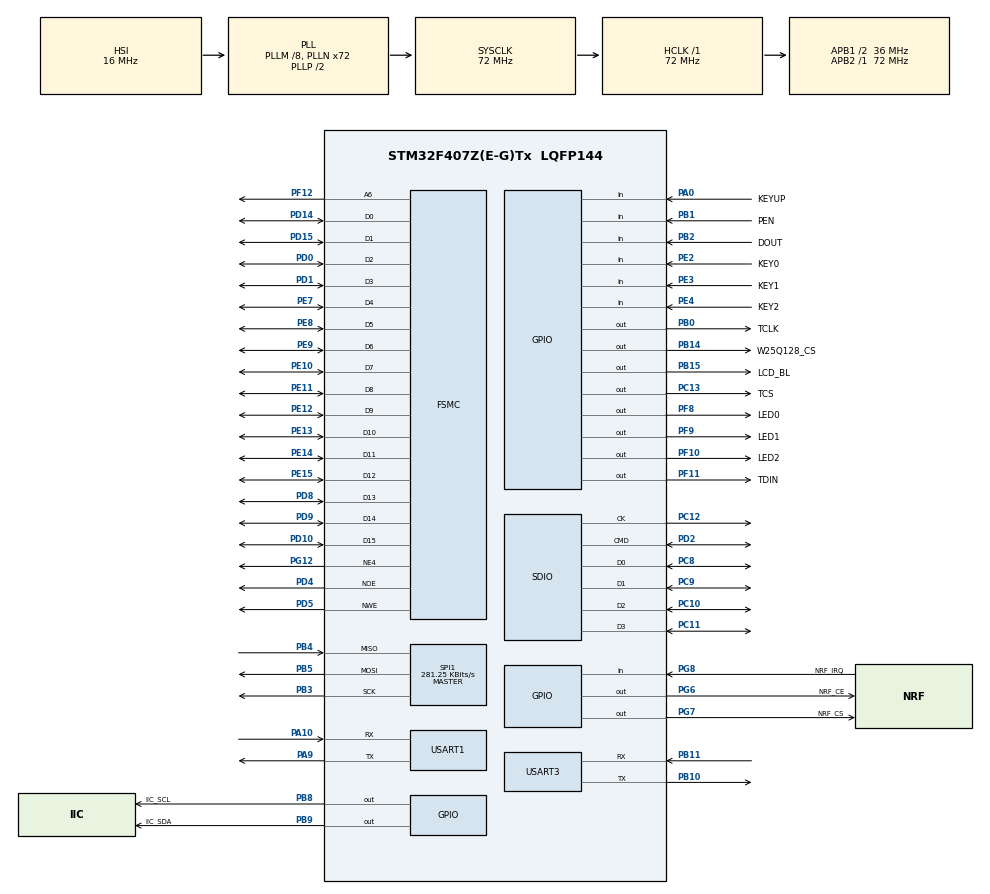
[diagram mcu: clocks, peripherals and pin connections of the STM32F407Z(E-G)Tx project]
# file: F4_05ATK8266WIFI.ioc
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Dma.Request0=SDIO_RX
Dma.Request1=SDIO_TX
Dma.SDIO_RX.0.Direction=DMA_PERIPH_TO_MEMORY
Dma.SDIO_RX.0.FIFOMode=DMA_FIFOMODE_ENABLE
Dma.SDIO_RX.0.FIFOThreshold=DMA_FIFO_THRESHOLD_FULL
Dma.SDIO_RX.0.Instance=DMA2_Stream3
Dma.SDIO_RX.0.MemBurst=DMA_MBURST_INC4
Dma.SDIO_RX.0.MemDataAlignment=DMA_MDATAALIGN_WORD
Dma.SDIO_RX.0.MemInc=DMA_MINC_ENABLE
Dma.SDIO_RX.0.Mode=DMA_PFCTRL
Dma.SDIO_RX.0.PeriphBurst=DMA_PBURST_INC4
Dma.SDIO_RX.0.PeriphDataAlignment=DMA_PDATAALIGN_WORD
Dma.SDIO_RX.0.PeriphInc=DMA_PINC_DISABLE
Dma.SDIO_RX.0.Priority=DMA_PRIORITY_LOW
Dma.SDIO_TX.1.Direction=DMA_MEMORY_TO_PERIPH
Dma.SDIO_TX.1.FIFOMode=DMA_FIFOMODE_ENABLE
Dma.SDIO_TX.1.FIFOThreshold=DMA_FIFO_THRESHOLD_FULL
Dma.SDIO_TX.1.Instance=DMA2_Stream6
Dma.SDIO_TX.1.MemBurst=DMA_MBURST_INC4
Dma.SDIO_TX.1.MemDataAlignment=DMA_MDATAALIGN_WORD
Dma.SDIO_TX.1.MemInc=DMA_MINC_ENABLE
Dma.SDIO_TX.1.Mode=DMA_PFCTRL
Dma.SDIO_TX.1.PeriphBurst=DMA_PBURST_INC4
Dma.SDIO_TX.1.PeriphDataAlignment=DMA_PDATAALIGN_WORD
Dma.SDIO_TX.1.PeriphInc=DMA_PINC_DISABLE
Dma.SDIO_TX.1.Priority=DMA_PRIORITY_LOW
FATFS.BSP.number=1
FATFS.USE_DMA_CODE_SD=1
FATFS._CODE_PAGE=936
FATFS._USE_LFN=2
FATFS0.BSP.STBoard=false
FATFS0.BSP.api=Unknown
FATFS0.BSP.i2caddr=0
FATFS0.BSP.instance=PE2
FATFS0.BSP.ip=GPIO
FATFS0.BSP.mode=Input
FATFS0.BSP.name=Detect_SDIO
FATFS0.BSP.solution=PE2
FSMC.AddressSetupTime1=0x0f
FSMC.BusTurnAroundDuration1=0
FSMC.DataSetupTime1=60
FSMC.ExtendedAddressSetupTime1=9
FSMC.ExtendedBusTurnAroundDuration1=0
FSMC.ExtendedDataSetupTime1=8
FSMC.ExtendedMode1=FSMC_EXTENDED_MODE_ENABLE
Mcu.Family=STM32F4
Mcu.Name=STM32F407Z(E-G)Tx
Mcu.Package=LQFP144
NVIC.DMA2_Stream3_IRQn=true\:2\:0\:true\:false\:true\:false\:true
NVIC.DMA2_Stream6_IRQn=true\:2\:0\:true\:false\:true\:false\:true
NVIC.PriorityGroup=NVIC_PRIORITYGROUP_2
NVIC.SDIO_IRQn=true\:0\:0\:false\:false\:true\:true\:true
NVIC.TIM7_IRQn=true\:0\:1\:false\:false\:true\:true\:true
NVIC.USART3_IRQn=true\:2\:3\:true\:false\:true\:true\:true
PA0-WKUP.GPIO_Label=KEYUP
PA0-WKUP.GPIO_PuPd=GPIO_PULLDOWN
PA0-WKUP.Signal=GPIO_Input
PA10.Mode=Asynchronous
PA10.Signal=USART1_RX
PA13.Mode=Serial_Wire
PA13.Signal=SYS_JTMS-SWDIO
PA14.Mode=Serial_Wire
PA14.Signal=SYS_JTCK-SWCLK
PA9.Mode=Asynchronous
PA9.Signal=USART1_TX
PB0.GPIO_Label=TCLK
PB0.GPIO_PuPd=GPIO_PULLUP
PB0.GPIO_Speed=GPIO_SPEED_FREQ_VERY_HIGH
PB0.Signal=GPIO_Output
PB1.GPIO_Label=PEN
PB1.GPIO_Mode=GPIO_MODE_INPUT
PB1.GPIO_PuPd=GPIO_PULLUP
PB1.Signal=GPIO_Input
PB10.Mode=Asynchronous
PB10.Signal=USART3_TX
PB11.Mode=Asynchronous
PB11.Signal=USART3_RX
PB14.GPIO_Label=W25Q128_CS
PB14.GPIO_PuPd=GPIO_PULLUP
PB14.GPIO_Speed=GPIO_SPEED_FREQ_VERY_HIGH
PB14.PinState=GPIO_PIN_SET
PB14.Signal=GPIO_Output
PB15.GPIO_Label=LCD_BL
PB15.GPIO_PuPd=GPIO_PULLUP
PB15.GPIO_Speed=GPIO_SPEED_FREQ_MEDIUM
PB15.Signal=GPIO_Output
PB2.GPIO_Label=DOUT
PB2.GPIO_PuPd=GPIO_PULLUP
PB2.Signal=GPIO_Input
PB3.GPIO_Mode=GPIO_MODE_AF_PP
PB3.GPIO_PuPd=GPIO_PULLUP
PB3.GPIO_Speed=GPIO_SPEED_FREQ_VERY_HIGH
PB3.Mode=Full_Duplex_Master
PB3.Signal=SPI1_SCK
PB4.GPIO_Mode=GPIO_MODE_AF_PP
PB4.GPIO_PuPd=GPIO_PULLUP
PB4.GPIO_Speed=GPIO_SPEED_FREQ_VERY_HIGH
PB4.Mode=Full_Duplex_Master
PB4.Signal=SPI1_MISO
PB5.GPIO_Mode=GPIO_MODE_AF_PP
PB5.GPIO_PuPd=GPIO_PULLUP
PB5.GPIO_Speed=GPIO_SPEED_FREQ_VERY_HIGH
PB5.Mode=Full_Duplex_Master
PB5.Signal=SPI1_MOSI
PB8.GPIO_Label=IIC_SCL
PB8.GPIO_PuPd=GPIO_PULLUP
PB8.GPIO_Speed=GPIO_SPEED_FREQ_VERY_HIGH
PB8.Signal=GPIO_Output
PB9.GPIO_Label=IIC_SDA
PB9.GPIO_PuPd=GPIO_PULLUP
PB9.GPIO_Speed=GPIO_SPEED_FREQ_VERY_HIGH
PB9.Signal=GPIO_Output
PC10.Mode=SD_4_bits_Wide_bus
PC10.Signal=SDIO_D2
PC11.Mode=SD_4_bits_Wide_bus
PC11.Signal=SDIO_D3
PC12.Mode=SD_4_bits_Wide_bus
PC12.Signal=SDIO_CK
PC13-ANTI_TAMP.GPIO_Label=TCS
PC13-ANTI_TAMP.Signal=GPIO_Output
PC8.Mode=SD_4_bits_Wide_bus
PC8.Signal=SDIO_D0
PC9.Mode=SD_4_bits_Wide_bus
PC9.Signal=SDIO_D1
PD0.GPIO_PuPd=GPIO_PULLUP
PD0.Signal=FSMC_D2_DA2
PD1.GPIO_PuPd=GPIO_PULLUP
PD1.Signal=FSMC_D3_DA3
PD10.GPIO_PuPd=GPIO_PULLUP
PD10.Signal=FSMC_D15_DA15
PD14.GPIO_PuPd=GPIO_PULLUP
PD14.Signal=FSMC_D0_DA0
PD15.GPIO_PuPd=GPIO_PULLUP
PD15.Signal=FSMC_D1_DA1
PD2.Mode=SD_4_bits_Wide_bus
PD2.Signal=SDIO_CMD
PD4.GPIO_PuPd=GPIO_PULLUP
PD4.Signal=FSMC_NOE
PD5.GPIO_PuPd=GPIO_PULLUP
PD5.Signal=FSMC_NWE
PD8.GPIO_PuPd=GPIO_PULLUP
PD8.Signal=FSMC_D13_DA13
PD9.GPIO_PuPd=GPIO_PULLUP
PD9.Signal=FSMC_D14_DA14
PE10.GPIO_PuPd=GPIO_PULLUP
PE10.Signal=FSMC_D7_DA7
PE11.GPIO_PuPd=GPIO_PULLUP
PE11.Signal=FSMC_D8_DA8
PE12.GPIO_PuPd=GPIO_PULLUP
PE12.Signal=FSMC_D9_DA9
PE13.GPIO_PuPd=GPIO_PULLUP
PE13.Signal=FSMC_D10_DA10
PE14.GPIO_PuPd=GPIO_PULLUP
PE14.Signal=FSMC_D11_DA11
PE15.GPIO_PuPd=GPIO_PULLUP
PE15.Signal=FSMC_D12_DA12
PE2.GPIO_Label=KEY0
PE2.GPIO_PuPd=GPIO_PULLUP
PE2.Signal=GPIO_Input
PE3.GPIO_Label=KEY1
PE3.GPIO_PuPd=GPIO_PULLUP
PE3.Signal=GPIO_Input
PE4.GPIO_Label=KEY2
PE4.GPIO_PuPd=GPIO_PULLUP
PE4.Signal=GPIO_Input
PE7.GPIO_PuPd=GPIO_PULLUP
PE7.Signal=FSMC_D4_DA4
PE8.GPIO_PuPd=GPIO_PULLUP
PE8.Signal=FSMC_D5_DA5
PE9.GPIO_PuPd=GPIO_PULLUP
PE9.Signal=FSMC_D6_DA6
PF10.GPIO_Label=LED2
PF10.GPIO_ModeDefaultOutputPP=GPIO_MODE_OUTPUT_PP
PF10.GPIO_PuPd=GPIO_PULLUP
PF10.GPIO_Speed=GPIO_SPEED_FREQ_VERY_HIGH
PF10.PinState=GPIO_PIN_SET
PF10.Signal=GPIO_Output
PF11.GPIO_Label=TDIN
PF11.GPIO_Speed=GPIO_SPEED_FREQ_VERY_HIGH
PF11.Signal=GPIO_Output
PF12.GPIO_PuPd=GPIO_PULLUP
PF12.Signal=FSMC_A6
PF8.GPIO_Label=LED0
PF8.GPIO_ModeDefaultOutputPP=GPIO_MODE_OUTPUT_PP
PF8.GPIO_PuPd=GPIO_PULLUP
PF8.GPIO_Speed=GPIO_SPEED_FREQ_VERY_HIGH
PF8.PinState=GPIO_PIN_SET
PF8.Signal=GPIO_Output
PF9.GPIO_Label=LED1
PF9.GPIO_ModeDefaultOutputPP=GPIO_MODE_OUTPUT_PP
PF9.GPIO_PuPd=GPIO_PULLUP
PF9.GPIO_Speed=GPIO_SPEED_FREQ_VERY_HIGH
PF9.PinState=GPIO_PIN_SET
PF9.Signal=GPIO_Output
PG12.GPIO_PuPd=GPIO_PULLUP
PG12.Mode=NorPsramChipSelect4_1
PG12.Signal=FSMC_NE4
PG6.GPIO_Label=NRF_CE
PG6.GPIO_ModeDefaultOutputPP=GPIO_MODE_OUTPUT_PP
PG6.GPIO_PuPd=GPIO_PULLUP
PG6.GPIO_Speed=GPIO_SPEED_FREQ_VERY_HIGH
PG6.Signal=GPIO_Output
PG7.GPIO_Label=NRF_CS
PG7.GPIO_ModeDefaultOutputPP=GPIO_MODE_OUTPUT_PP
PG7.GPIO_PuPd=GPIO_PULLUP
PG7.GPIO_Speed=GPIO_SPEED_FREQ_VERY_HIGH
PG7.Signal=GPIO_Output
PG8.GPIO_Label=NRF_IRQ
PG8.GPIO_PuPd=GPIO_PULLUP
PG8.Signal=GPIO_Input
PH0-OSC_IN.Mode=HSE-External-Oscillator
PH0-OSC_IN.Signal=RCC_OSC_IN
PH1-OSC_OUT.Mode=HSE-External-Oscillator
PH1-OSC_OUT.Signal=RCC_OSC_OUT
ProjectManager.HeapSize=0x200
ProjectManager.StackSize=0x1000
ProjectManager.TargetToolchain=MDK-ARM V5.27
RCC.48MHZClocksFreq_Value=48000000
RCC.AHBFreq_Value=72000000
RCC.APB1CLKDivider=RCC_HCLK_DIV2
RCC.APB1Freq_Value=36000000
RCC.APB1TimFreq_Value=72000000
RCC.APB2Freq_Value=72000000
RCC.APB2TimFreq_Value=72000000
RCC.CortexFreq_Value=72000000
RCC.HCLKFreq_Value=72000000
RCC.HSE_VALUE=8000000
RCC.HSI_VALUE=16000000
RCC.LSE_VALUE=32768
RCC.PLLM=8
RCC.PLLN=72
RCC.PLLQ=3
RCC.SYSCLKFreq_VALUE=72000000
RCC.SYSCLKSource=RCC_SYSCLKSOURCE_PLLCLK
RCC.VCOOutputFreq_Value=144000000
SDIO.ClockBypass=SDIO_CLOCK_BYPASS_DISABLE
SDIO.ClockDiv=0
SH.FSMC_A6.0=FSMC_A6,A6_1
SH.FSMC_D0_DA0.0=FSMC_D0,16b-d1
SH.FSMC_D10_DA10.0=FSMC_D10,16b-d1
SH.FSMC_D11_DA11.0=FSMC_D11,16b-d1
SH.FSMC_D12_DA12.0=FSMC_D12,16b-d1
SH.FSMC_D13_DA13.0=FSMC_D13,16b-d1
SH.FSMC_D14_DA14.0=FSMC_D14,16b-d1
SH.FSMC_D15_DA15.0=FSMC_D15,16b-d1
SH.FSMC_D1_DA1.0=FSMC_D1,16b-d1
SH.FSMC_D2_DA2.0=FSMC_D2,16b-d1
SH.FSMC_D3_DA3.0=FSMC_D3,16b-d1
SH.FSMC_D4_DA4.0=FSMC_D4,16b-d1
SH.FSMC_D5_DA5.0=FSMC_D5,16b-d1
SH.FSMC_D6_DA6.0=FSMC_D6,16b-d1
SH.FSMC_D7_DA7.0=FSMC_D7,16b-d1
SH.FSMC_D8_DA8.0=FSMC_D8,16b-d1
SH.FSMC_D9_DA9.0=FSMC_D9,16b-d1
SH.FSMC_NOE.0=FSMC_NOE,Lcd1
SH.FSMC_NWE.0=FSMC_NWE,Lcd1
SPI1.BaudRatePrescaler=SPI_BAUDRATEPRESCALER_256
SPI1.CLKPhase=SPI_PHASE_2EDGE
SPI1.CLKPolarity=SPI_POLARITY_HIGH
SPI1.CRCCalculation=SPI_CRCCALCULATION_DISABLE
SPI1.CalculateBaudRate=281.25 KBits/s
SPI1.DataSize=SPI_DATASIZE_8BIT
SPI1.Direction=SPI_DIRECTION_2LINES
SPI1.Mode=SPI_MODE_MASTER
SPI1.VirtualType=VM_MASTER
TIM7.Period=8400-1
TIM7.Prescaler=1000-1
USART1.VirtualMode=VM_ASYNC
USART3.VirtualMode=VM_ASYNC
VP_FATFS_VS_SDIO.Mode=SDIO
VP_TIM7_VS_ClockSourceINT.Mode=Enable_Timer
board=custom

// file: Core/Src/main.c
/* USER CODE BEGIN Header */
/**
  ******************************************************************************
  * @file           : main.c
  * @brief          : Main program body
  ******************************************************************************
  * @attention
  *
  * <h2><center>&copy; Copyright (c) 2021 STMicroelectronics.
  * All rights reserved.</center></h2>
  *
  * This software component is licensed by ST under BSD 3-Clause license,
  * the "License"; You may not use this file except in compliance with the
  * License. You may obtain a copy of the License at:
  *                        opensource.org/licenses/BSD-3-Clause
  *
  ******************************************************************************
  */
/* USER CODE END Header */
#include "main.h"
#include "dma.h"
#include "fatfs.h"
#include "sdio.h"
#include "spi.h"
#include "tim.h"
#include "usart.h"
#include "gpio.h"
#include "fsmc.h"

/* USER CODE BEGIN Includes */
#include "lcd.h"
#include "touch.h"
#include "24l01.h"
#include "w25qxx.h"
#include "text.h"
/* USER CODE END Includes */

void SystemClock_Config(void);

/* USER CODE BEGIN 0 */
const u8 TEXT_Buffer[]={"Explorer STM32F4 SPI TEST"};
u8 key;
#define SIZE sizeof(TEXT_Buffer)
/* USER CODE END 0 */

int main(void)
{
  /* USER CODE BEGIN 1 */
  u8 key,fontok=0;
  FATFS* fs[2] = {0,0};
  /* USER CODE END 1 */

  /* MCU Configuration--------------------------------------------------------*/

  /* Reset of all peripherals, Initializes the Flash interface and the Systick. */
  HAL_Init();

  /* Configure the system clock */
  SystemClock_Config();

  /* Initialize all configured peripherals */
  MX_GPIO_Init();
  MX_DMA_Init();
  MX_FSMC_Init();
  MX_SPI1_Init();
  MX_USART1_UART_Init();
  MX_SDIO_SD_Init();
  MX_FATFS_Init();
  MX_USART3_UART_Init();
  MX_TIM7_Init();
  /* USER CODE BEGIN 2 */

  delay_init(168);     //初始化延时函??
  LCD_Init();			//LCD初始??
  W25QXX_Init();		//W25QXX初始??
  font_init();
//  HAL_UART_Receive_IT(&huart3, USART3_RX_BUF, USART3_MAX_RECV_LEN);
  HAL_TIM_Base_Start_IT(&htim7);//使能定时器3和定时器3更新中断：TIM_IT_UPDATE
  TIM7->CR1&=~(1<<0);        //关闭定时器7
  USART3_RX_STA=0;		//清零

  if (f_mount(fs[0],"0:",1) != FR_OK) 		//挂载SD卡
    Error_Handler();

//	Show_Str(30,30,200,16,"ATK-ESP AP+STA模式测试",16,0);
//	HAL_UART_Transmit(&huart1,"233333",6,1000);
	key=KEY_Scan(0);

	atk_8266_test();		//进入ATK_ESP8266测试
  /* USER CODE END 2 */

  /* Infinite loop */
  while (1)
  {

  }
}

void SystemClock_Config(void)
{
  RCC_OscInitTypeDef RCC_OscInitStruct = {0};
  RCC_ClkInitTypeDef RCC_ClkInitStruct = {0};

  /** Configure the main internal regulator output voltage
  */
  __HAL_RCC_PWR_CLK_ENABLE();
  __HAL_PWR_VOLTAGESCALING_CONFIG(PWR_REGULATOR_VOLTAGE_SCALE1);
  /** Initializes the RCC Oscillators according to the specified parameters
  * in the RCC_OscInitTypeDef structure.
  */
  RCC_OscInitStruct.OscillatorType = RCC_OSCILLATORTYPE_HSI;
  RCC_OscInitStruct.HSIState = RCC_HSI_ON;
  RCC_OscInitStruct.HSICalibrationValue = RCC_HSICALIBRATION_DEFAULT;
  RCC_OscInitStruct.PLL.PLLState = RCC_PLL_ON;
  RCC_OscInitStruct.PLL.PLLSource = RCC_PLLSOURCE_HSI;
  RCC_OscInitStruct.PLL.PLLM = 8;
  RCC_OscInitStruct.PLL.PLLN = 72;
  RCC_OscInitStruct.PLL.PLLP = RCC_PLLP_DIV2;
  RCC_OscInitStruct.PLL.PLLQ = 3;
  if (HAL_RCC_OscConfig(&RCC_OscInitStruct) != HAL_OK)
  {
    Error_Handler();
  }
  /** Initializes the CPU, AHB and APB buses clocks
  */
  RCC_ClkInitStruct.ClockType = RCC_CLOCKTYPE_HCLK|RCC_CLOCKTYPE_SYSCLK
                              |RCC_CLOCKTYPE_PCLK1|RCC_CLOCKTYPE_PCLK2;
  RCC_ClkInitStruct.SYSCLKSource = RCC_SYSCLKSOURCE_PLLCLK;
  RCC_ClkInitStruct.AHBCLKDivider = RCC_SYSCLK_DIV1;
  RCC_ClkInitStruct.APB1CLKDivider = RCC_HCLK_DIV2;
  RCC_ClkInitStruct.APB2CLKDivider = RCC_HCLK_DIV1;

  if (HAL_RCC_ClockConfig(&RCC_ClkInitStruct, FLASH_LATENCY_2) != HAL_OK)
  {
    Error_Handler();
  }
}

void Error_Handler(void)
{
  __disable_irq();
  while (1)
  {
  }
}

/************************ (C) COPYRIGHT STMicroelectronics *****END OF FILE****/
